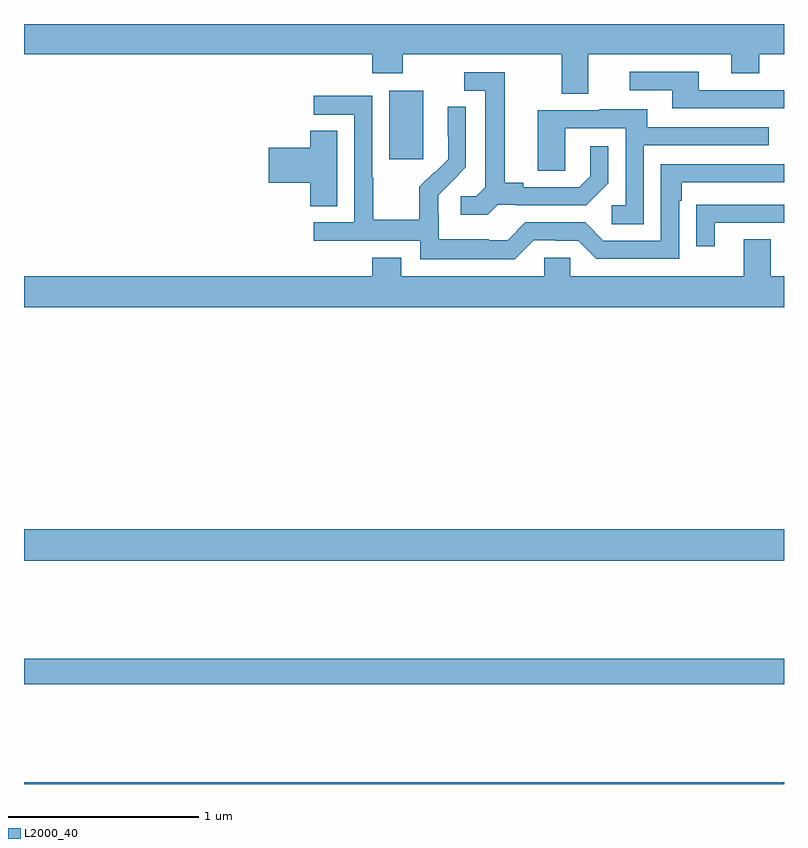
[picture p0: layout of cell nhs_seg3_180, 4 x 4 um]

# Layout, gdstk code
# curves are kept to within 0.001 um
import gdstk
lib = gdstk.Library(unit=1e-6, precision=1e-09)
def R(c, l, rs):  # rectangles x0, y0, x1, y1
    for r in rs: c.add(gdstk.rectangle(r[:2], r[2:], *l))
def P(c, l, *ps):  # polygons
    for p in ps: c.add(gdstk.Polygon(p, *l))
L2000_40 = (2000, 40)

nhs_seg3_180 = lib.new_cell('nhs_seg3_180')
R(nhs_seg3_180, L2000_40, [(119,706.4,123,706.408), (119,706.924,123,707.06), (119,707.576,123,707.74), (120.923,709.689,121.102,710.05)])
P(nhs_seg3_180, L2000_40, [(119,710.24),(120.833,710.24),(120.833,710.141),(120.993,710.141),(120.993,710.24),(121.829,710.24),(121.829,710.032),(121.969,710.032),(121.969,710.24),(122.723,710.24),(122.723,710.141),(122.871,710.141),(122.871,710.24),(123,710.24),(123,710.4),(119,710.4)],
  [(123,710.052),(122.551,710.052),(122.551,710.148),(122.187,710.148),(122.187,710.052),(122.411,710.052),(122.411,709.956),(123,709.956)],
  [(121.494,709.449),(121.588,709.449),(121.588,709.446),(121.96,709.446),(122.076,709.562),(122.076,709.756),(121.979,709.756),(121.979,709.599),(121.922,709.542),(121.627,709.542),(121.627,709.565),(121.531,709.565),(121.531,710.145),(121.317,710.145),(121.317,710.049),(121.427,710.049),(121.427,709.541),(121.38,709.494),(121.299,709.494),(121.299,709.397),(121.442,709.397)],
  [(121.683,709.263),(121.799,709.263),(121.799,709.26),(121.917,709.26),(122.013,709.164),(122.448,709.164),(122.448,709.469),(122.461,709.469),(122.461,709.566),(123,709.566),(123,709.662),(122.352,709.662),(122.352,709.26),(122.049,709.26),(121.953,709.356),(121.638,709.356),(121.545,709.263),(121.445,709.263),(121.445,709.267),(121.182,709.267),(121.182,709.401),(121.18,709.401),(121.18,709.498),(121.326,709.646),(121.326,709.964),(121.23,709.964),(121.23,709.81),(121.232,709.81),(121.232,709.688),(121.161,709.617),(121.158,709.62),(121.081,709.543),(121.081,709.369),(120.837,709.369),(120.837,709.592),(120.834,709.592),(120.834,710.022),(120.525,710.022),(120.525,709.923),(120.738,709.923),(120.738,709.356),(120.525,709.356),(120.525,709.26),(121.086,709.26),(121.086,709.163),(121.583,709.163)],
  [(122.262,709.761),(122.921,709.761),(122.921,709.857),(122.281,709.857),(122.281,709.951),(122.027,709.951),(122.027,709.947),(121.703,709.947),(121.703,709.627),(121.848,709.627),(121.848,709.851),(122.166,709.851),(122.166,709.446),(122.094,709.446),(122.094,709.345),(122.262,709.345)],
  [(120.649,709.838),(120.506,709.838),(120.506,709.748),(120.288,709.748),(120.288,709.565),(120.506,709.565),(120.506,709.441),(120.649,709.441)],
  [(122.635,709.353),(123,709.353),(123,709.449),(122.641,709.449),(122.641,709.448),(122.539,709.448),(122.539,709.23),(122.635,709.23)],
  [(123,709.072),(122.929,709.072),(122.929,709.267),(122.789,709.267),(122.789,709.072),(121.875,709.072),(121.875,709.17),(121.737,709.17),(121.737,709.072),(120.985,709.072),(120.985,709.171),(120.833,709.171),(120.833,709.072),(119,709.072),(119,708.908),(123,708.908)])

lib.write_gds('nhs_seg3_180.gds')
